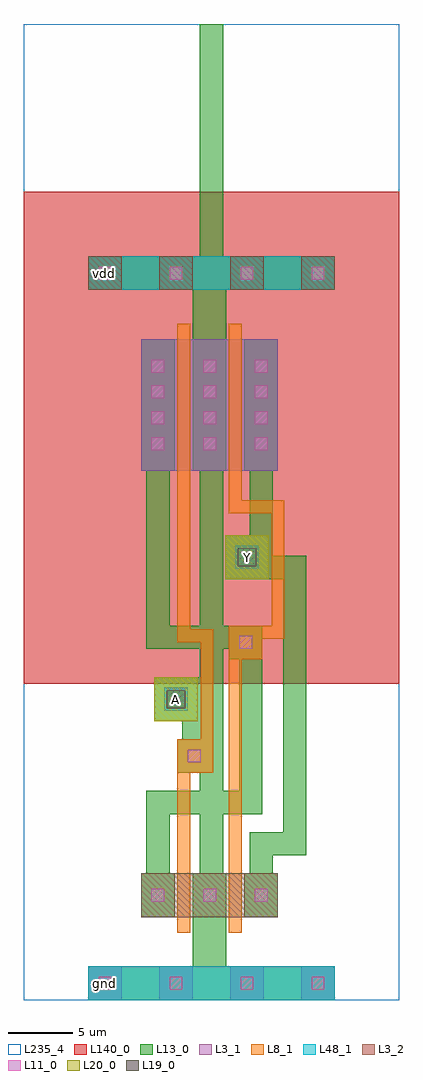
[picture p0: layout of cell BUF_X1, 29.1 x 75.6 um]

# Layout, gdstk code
import gdstk
lib = gdstk.Library(unit=1e-6, precision=1e-09)
def R(c, l, rs):  # rectangles x0, y0, x1, y1
    for r in rs: c.add(gdstk.rectangle(r[:2], r[2:], *l))
def A(c, l, x, y, w, h, nx, ny, dx, dy):  # array of equal rectangles
    R(c, l, [(x+i*dx, y+j*dy, x+i*dx+w, y+j*dy+h) for i in range(nx) for j in range(ny)])
def P(c, l, *ps):  # polygons
    for p in ps: c.add(gdstk.Polygon(p, *l))
L3_1 = (3, 1)
L3_2 = (3, 2)
L8_1 = (8, 1)
L11_0 = (11, 0)
L13_0 = (13, 0)
L19_0 = (19, 0)
L20_0 = (20, 0)
L48_1 = (48, 1)
L140_0 = (140, 0)
L235_4 = (235, 4)

buf_x1 = lib.new_cell('BUF_X1')
A(buf_x1, L3_1, 5, 0, 2.6, 2.6, 4, 1, 5.5, 0)
R(buf_x1, L3_1, [(9.1,41,19.7,51.2)])
A(buf_x1, L3_2, 5, 55, 2.6, 2.6, 4, 1, 5.5, 0)
R(buf_x1, L3_2, [(9.1,6.4,19.7,9.8)])
P(buf_x1, L8_1, [(11.9,5.2),(11.9,20.2),(13.7,20.2),(13.7,27.7),(11.9,27.7),(11.9,52.4),(12.9,52.4),(12.9,28.7),(14.7,28.7),(14.7,17.6),(12.9,17.6),(12.9,5.2)],
  [(15.9,5.2),(15.9,29),(19.2,29),(19.2,37.7),(15.9,37.7),(15.9,52.4),(16.9,52.4),(16.9,38.7),(20.2,38.7),(20.2,28),(18.5,28),(18.5,26.4),(16.9,26.4),(16.9,5.2)])
A(buf_x1, L11_0, 5.8, 0.8, 1, 1, 4, 2, 5.5, 55)
A(buf_x1, L11_0, 9.9, 42.6, 1, 1, 1, 4, 0, 2)
A(buf_x1, L11_0, 17.9, 42.6, 1, 1, 1, 4, 0, 2)
R(buf_x1, L11_0, [(9.9,7.6,10.9,8.6), (13.9,7.6,14.9,8.6), (13.9,7.6,14.9,8.6), (17.9,7.6,18.9,8.6), (12.7,18.4,13.7,19.4), (16.7,27.2,17.7,28.2), (13.9,42.6,14.9,43.6), (13.9,42.6,14.9,43.6), (13.9,44.6,14.9,45.6), (13.9,44.6,14.9,45.6), (13.9,46.6,14.9,47.6), (13.9,46.6,14.9,47.6), (13.9,48.6,14.9,49.6), (13.9,48.6,14.9,49.6)])
P(buf_x1, L13_0, [(17.1,6.4),(17.1,9.8),(17.5,9.8),(17.5,13),(20.1,13),(20.1,32.6),(15.6,32.6),(15.6,36),(17.5,36),(17.5,41),(17.1,41),(17.1,51.2),(19.7,51.2),(19.7,41),(19.3,41),(19.3,34.4),(21.9,34.4),(21.9,11.2),(19.3,11.2),(19.3,9.8),(19.7,9.8),(19.7,6.4)],
  [(5,0),(5,2.6),(13.1,2.6),(13.1,9.8),(13.65,9.8),(13.65,14.4),(11.3,14.4),(11.3,9.8),(11.7,9.8),(11.7,6.4),(9.1,6.4),(9.1,9.8),(9.5,9.8),(9.5,16.2),(13.65,16.2),(13.65,17.6),(11.9,17.6),(11.9,20.2),(12.3,20.2),(12.3,21.6),(10.1,21.6),(10.1,25),(13.65,25),(13.65,27.2),(15.45,27.2),(15.45,16.2),(16.7,16.2),(16.7,26.4),(15.9,26.4),(15.9,27.2),(9.5,27.2),(9.5,41),(9.1,41),(9.1,51.2),(11.7,51.2),(11.7,41),(11.3,41),(11.3,29),(13.65,29),(13.65,41),(13.1,41),(13.1,55),(5,55),(5,57.6),(13.65,57.6),(13.65,75.6),(15.45,75.6),(15.45,57.6),(24.1,57.6),(24.1,55),(15.7,55),(15.7,41),(15.45,41),(15.45,29),(18.5,29),(18.5,14.4),(15.45,14.4),(15.45,9.8),(15.7,9.8),(15.7,2.6),(24.1,2.6),(24.1,0)])
R(buf_x1, L19_0, [(11.1,22.6,12.5,24), (16.6,33.6,18,35)])
R(buf_x1, L20_0, [(10.1,21.6,13.5,25), (15.6,32.6,19,36)])
R(buf_x1, L48_1, [(5,0,24.1,2.6), (10.9,22.4,12.7,24.2), (16.4,33.4,18.2,35.2), (5,55,24.1,57.6)])
R(buf_x1, L140_0, [(0,24.5,29.1,62.6)])
R(buf_x1, L235_4, [(0,0,29.1,75.6)])
buf_x1.add(gdstk.Label('vdd', (6.3,56.3), layer=48, texttype=0))
buf_x1.add(gdstk.Label('gnd', (6.3,1.3), layer=48, texttype=0))
buf_x1.add(gdstk.Label('Y', (17.3,34.3), layer=48, texttype=0))
buf_x1.add(gdstk.Label('A', (11.8,23.3), layer=48, texttype=0))
buf_x1.add(gdstk.Label('A', (11.8,23.3), layer=49, texttype=0))
buf_x1.add(gdstk.Label('Y', (17.3,34.3), layer=49, texttype=0))

lib.write_gds('BUF_X1.gds')
